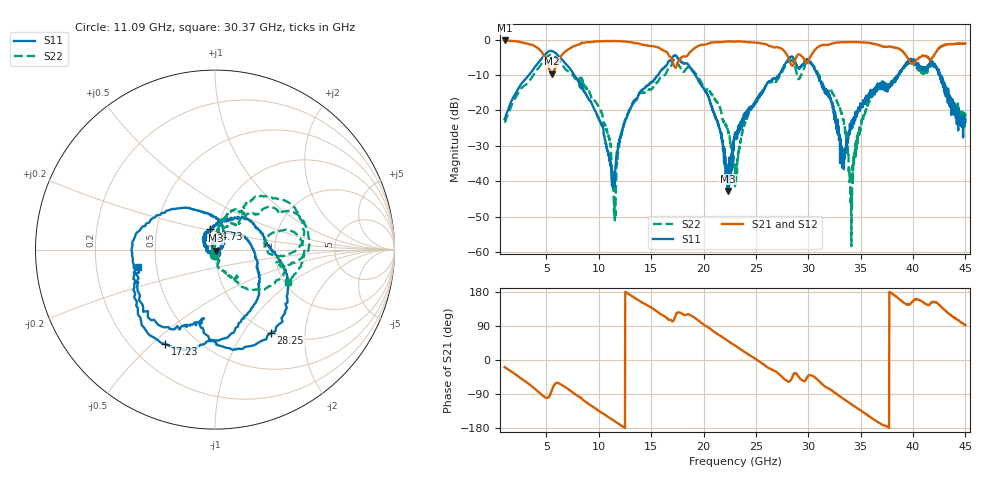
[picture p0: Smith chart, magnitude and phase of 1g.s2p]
!Keysight Technologies,N5247B,MY61255062,A.19.80.06
!Date: Tuesday, May 26, 2026 11:24:09
!Correction: S11(C  2-Port  )
!S21(C  2-Port  )
!S12(C  2-Port  )
!S22(C  2-Port  )
!S2P File: Measurements: S11, S21, S12, S22:
# Hz S  dB  R 50
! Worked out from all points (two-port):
!   1601 points, 1 GHz to 45 GHz, reference 50 ohm
!   highest |S21| = -0.23 dB at 1 GHz (marker M1); lowest = -9.6 dB at 5.51 GHz (marker M2)
!   |S21| within 3 dB of the highest: 6.848 GHz to 16.31 GHz (9.457 GHz wide, 81.7 % of centre); 18.81 GHz to 27.7 GHz (8.882 GHz wide, 38.2 % of centre)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
!   lowest |S11| = -42.7 dB at 22.29 GHz (marker M3), VSWR 1.01, Z = 50.3 - j0.654 ohm
!   |S11| at or under -10 dB: 7.64 GHz to 15.65 GHz (8.006 GHz wide, 68.8 % of centre); 19.2 GHz to 27.21 GHz (8.016 GHz wide, 34.5 % of centre); 30.89 GHz to 38.53 GHz (7.641 GHz wide, 22 % of centre)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
!   |S22| runs from -58.3 to -4.3 dB; largest |S21 - S12| = 0.015
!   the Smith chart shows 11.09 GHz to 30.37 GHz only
!   S11 on the Smith chart (normalised r, x): 11.09 GHz: 1.01, -0.03; 17.23 GHz: 0.34, -0.55; 24.73 GHz: 0.92, +0.21; 28.25 GHz: 1.00, -1.35; 30.37 GHz: 0.39, -0.10
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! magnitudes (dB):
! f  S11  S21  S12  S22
! 1 GHz  -22.4  -0.2  -0.2  -23.4
! 5.51 GHz  -3.2  -9.6  -9.6  -4.4
! 8.342 GHz  -13.7  -0.9  -0.9  -10.5
! 11.09 GHz  -35.5  -0.4  -0.4  -29.8
! 11.48 GHz  -41.6  -0.4  -0.4  -44.2
! 12.63 GHz  -22.0  -0.6  -0.6  -21.8
! 15.69 GHz  -9.9  -2.2  -2.2  -11.6
! 17.23 GHz  -4.5  -7.7  -7.7  -5.6
! 20.39 GHz  -15.8  -1.2  -1.2  -14.2
! 22.29 GHz  -42.7  -0.5  -0.5  -25.3
! 23 GHz  -26.3  -0.6  -0.6  -41.4
! 24.73 GHz  -18.7  -0.8  -0.8  -18.7
! 28.25 GHz  -5.1  -6.3  -6.4  -6.0
! 30.34 GHz  -7.1  -4.2  -4.2  -6.9
! 30.37 GHz  -7.1  -4.1  -4.0  -7.0
! 32.16 GHz  -17.3  -1.2  -1.2  -14.6
! 33.26 GHz  -30.7  -0.7  -0.7  -21.9
! 34.08 GHz  -23.5  -0.6  -0.7  -41.9
! 35.48 GHz  -17.6  -0.8  -0.8  -20.3
! 37.69 GHz  -13.1  -1.9  -1.9  -12.5
! 41.87 GHz  -7.2  -5.0  -5.0  -7.3
! 45 GHz  -22.6  -1.1  -1.1  -22.8
